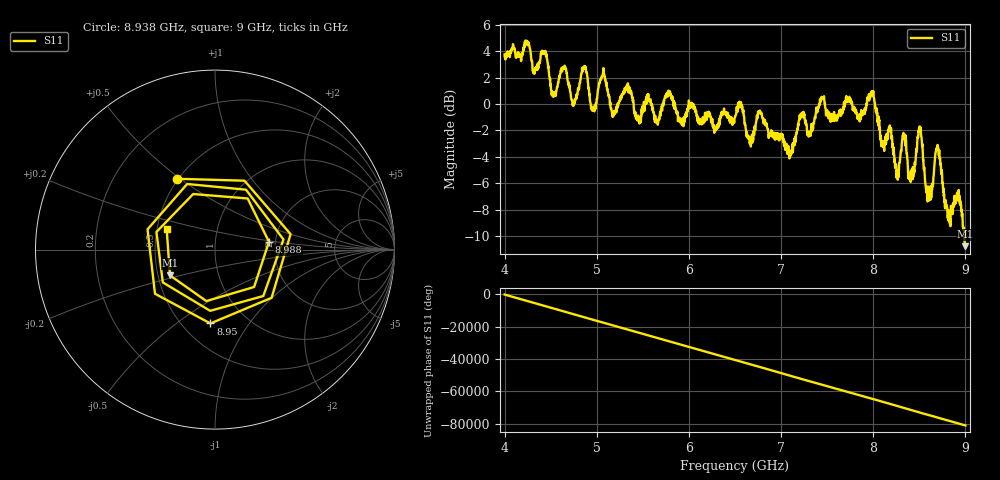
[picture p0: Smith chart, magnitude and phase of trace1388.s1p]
! Created with skrf 1.8.0 (http://scikit-rf.org).
# Hz S RI R 50.0
!freq ReS11 ImS11
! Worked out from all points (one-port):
!   1601 points, 4 GHz to 9 GHz, reference 50 ohm
!   lowest |S11| = -10.8 dB at 8.997 GHz (marker M1), VSWR 1.81, Z = 28.9 - j9.06 ohm
!   |S11| at or under -10 dB: 8.986492 GHz to end of sweep
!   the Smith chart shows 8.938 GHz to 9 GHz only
!   S11 on the Smith chart (normalised r, x): 8.938 GHz: 0.49, +0.49; 8.95 GHz: 0.68, -0.67; 8.988 GHz: 1.85, +0.18; 9 GHz: 0.56, +0.14
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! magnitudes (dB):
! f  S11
! 4 GHz  3.8
! 4.431 GHz  4.0
! 4.534 GHz  0.6
! 4.625 GHz  2.5
! 4.744 GHz  -0.1
! 4.866 GHz  2.9
! 4.962 GHz  -0.3
! 5.062 GHz  2.1
! 5.175 GHz  -0.8
! 5.25 GHz  0.2
! 5.875 GHz  -0.7
! 6.5 GHz  -0.9
! 7.125 GHz  -3.0
! 7.228 GHz  -0.9
! 7.75 GHz  0.5
! 7.988 GHz  0.8
! 8.1 GHz  -3.1
! 8.375 GHz  -4.7
! 8.422 GHz  -4.9
! 8.503 GHz  -1.7
! 8.597 GHz  -6.3
! 8.697 GHz  -3.1
! 8.812 GHz  -8.4
! 8.938 GHz  -7.0
! 8.95 GHz  -7.7
! 8.988 GHz  -10.3
! 8.997 GHz  -10.8
! 9 GHz  -10.7
